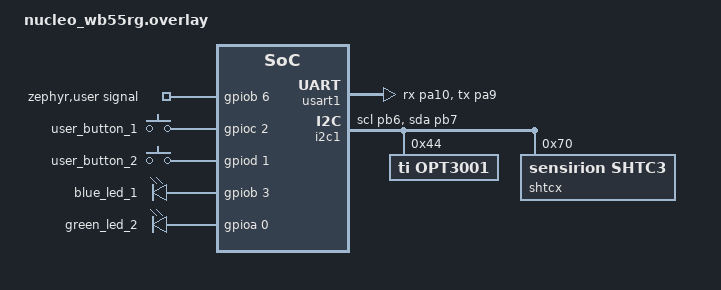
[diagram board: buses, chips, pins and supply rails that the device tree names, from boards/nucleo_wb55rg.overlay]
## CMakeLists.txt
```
# SPDX-License-Identifier: Apache-2.0

cmake_minimum_required(VERSION 3.20.0)

find_package(Zephyr REQUIRED HINTS $ENV{ZEPHYR_BASE})
project(blinker_test)

add_subdirectory(../../lib lib)

FILE(GLOB app_sources src/*.c)
target_sources(app PRIVATE ${app_sources})

#target_link_libraries(app PRIVATE button)
```

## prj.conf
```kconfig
CONFIG_LOG=y
CONFIG_PM_DEVICE=y
CONFIG_STDOUT_CONSOLE=y
```

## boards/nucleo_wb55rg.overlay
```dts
&pinctrl {
    usart1_rx_pa10: usart1_rx_pa10 {
        pinmux = < STM32_PINMUX('A', 10, AF7) >;
    };

    usart1_tx_pa9: usart1_tx_pa9 {
        pinmux = < STM32_PINMUX('A', 9, AF7) >;
    };
};

// usart 1 on PA9 and PA10
&usart1 {
    pinctrl-0 = <&usart1_rx_pa10 &usart1_tx_pa9>;
};

// i2c1 for sht
&i2c1 {
    pinctrl-0 = <&i2c1_scl_pb6 &i2c1_sda_pb7>;
    status = "okay";
    pinctrl-names = "default";
    
	opt3001: opt3001@44 {
		compatible = "ti,opt3001";
		reg = <0x44>;
	};
	shtcx: shtc3@70 {
      compatible = "sensirion,shtc3", "sensirion,shtcx";
      reg = <0x70>;
      measure-mode = "normal";
      clock-stretching;
   };
};

&gpioa {
	status = "okay";
};
&gpiob {
	status = "okay";
};
&gpioc {
	status = "okay";
};
&gpiod {
	status = "okay";
};

/ {
	zephyr,user {
		signal-gpios =  < &gpiob 6 GPIO_ACTIVE_HIGH >; // Test scl
	};

	aliases {
		buzzer = &green_led_2;
		statusled = &blue_led_1;
	};
};

// door 
&user_button_1 {
	gpios = < &gpioc 2 GPIO_ACTIVE_HIGH >; // Door uSwitch
};

&user_button_2 {
	gpios = < &gpiod 1 GPIO_ACTIVE_HIGH >; // CTRL Btn
};

&blue_led_1 {
	gpios = < &gpiob 3 GPIO_ACTIVE_HIGH >; // User LED
};

&green_led_2 {
	gpios = < &gpioa 0 GPIO_ACTIVE_HIGH >; // Buzzer
};
```

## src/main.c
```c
#include "zephyr/dt-bindings/gpio/gpio.h"
#include "zephyr/sys/time_units.h"
#include <zephyr/device.h>
#include <zephyr/devicetree.h>
#include <zephyr/drivers/gpio.h>
#include <zephyr/kernel.h>

//#include <zephyr/logging/log.h>
//LOG_MODULE_REGISTER(main, CONFIG_APP_LOG_LEVEL);

#include <blinker.h>

const struct gpio_dt_spec led = GPIO_DT_SPEC_GET(DT_ALIAS(statusled), gpios);

static void blinker_event_handler(enum blinker_evt evt, long info)
{
	gpio_pin_set_dt(&led, evt==BLINKER_EVT_OFF ? 1 : 0);
}

struct blinker_context blinker;

int main(void)
{
	bool ok;		

	printk("Blinker Sample!\n");
  	gpio_pin_configure_dt(&led, GPIO_OUTPUT);
	gpio_pin_set_dt(&led, 1);

	ok = blinker_init(
		&blinker,
		blinker_event_handler,
		0);

	if (!ok) {
		printk("Blink 1 Init failed\n");
		return -1;
	}

	printk("Init succeeded. Waiting for event...\n");

	// Sequence defined in ms.
	blinker_sequence2(&blinker, 1000, 500);
	blinker_start(&blinker, true);

    // Main loop
  	while (1) {
		// We can sleep now, the blinker will handle itself.
    	k_sleep(K_SECONDS(10));
  	}

	return 0;
}
```
